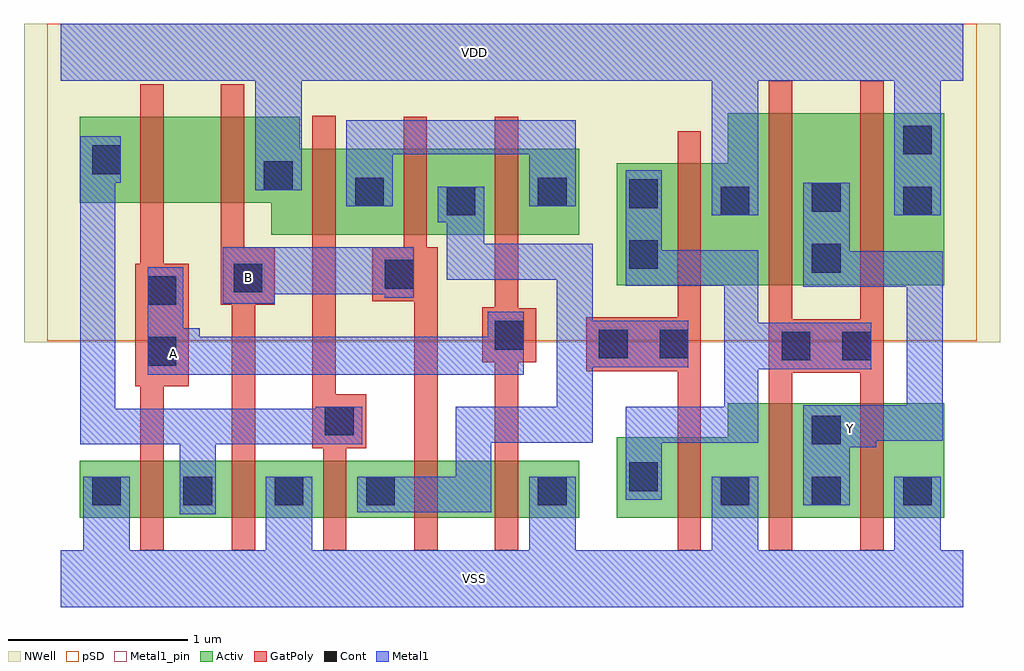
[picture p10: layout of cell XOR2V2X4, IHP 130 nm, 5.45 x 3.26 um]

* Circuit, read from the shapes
.subckt XOR2V2X4 A B VDD VSS Y
XM1 n1 A VSS VSUBS sg13_lv_nmos w=0.32u l=0.13u
XM2 VSS B n1 VSUBS sg13_lv_nmos w=0.32u l=0.13u
XM3 n2 n1 VSS VSUBS sg13_lv_nmos w=0.32u l=0.13u
XM4 n3 B n2 VSUBS sg13_lv_nmos w=0.32u l=0.13u
XM5 VSS A n3 VSUBS sg13_lv_nmos w=0.32u l=0.13u
XM6 VSS n2 n4 VSUBS sg13_lv_nmos w=0.45u l=0.13u
XM7 Y n4 VSS VSUBS sg13_lv_nmos w=0.64u l=0.13u m=2
XM8 n5 A n1 n6 sg13_lv_pmos w=0.48u l=0.13u
XM9 VDD B n5 n6 sg13_lv_pmos w=0.48u l=0.13u
XM10 n7 n1 VDD n6 sg13_lv_pmos w=0.48u l=0.13u
XM11 n2 B n7 n6 sg13_lv_pmos w=0.48u l=0.13u
XM12 n7 A n2 n6 sg13_lv_pmos w=0.48u l=0.13u
XM13 VDD n2 n4 n6 sg13_lv_pmos w=0.68u l=0.13u
XM14 Y n4 VDD n6 sg13_lv_pmos w=0.96u l=0.13u m=2
.ends

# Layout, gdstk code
import gdstk
lib = gdstk.Library(unit=1e-6, precision=1e-09)
def R(c, l, rs):  # rectangles x0, y0, x1, y1
    for r in rs: c.add(gdstk.rectangle(r[:2], r[2:], *l))
def A(c, l, x, y, w, h, nx, ny, dx, dy):  # array of equal rectangles
    R(c, l, [(x+i*dx, y+j*dy, x+i*dx+w, y+j*dy+h) for i in range(nx) for j in range(ny)])
def P(c, l, *ps):  # polygons
    for p in ps: c.add(gdstk.Polygon(p, *l))
Activ = (1, 0)
GatPoly = (5, 0)
Cont = (6, 0)
Metal1 = (8, 0)
Metal1_pin = (8, 2)
pSD = (14, 0)
NWell = (31, 0)

xor2v2x4 = lib.new_cell('XOR2V2X4')
R(xor2v2x4, Activ, [(0.105,0.34,2.895,0.66)])
P(xor2v2x4, Activ, [(3.105,0.34),(3.105,0.79),(3.725,0.79),(3.725,0.98),(4.935,0.98),(4.935,0.34)],
  [(3.105,1.64),(3.105,2.32),(3.725,2.32),(3.725,2.6),(4.935,2.6),(4.935,1.64)],
  [(1.175,1.92),(1.175,2.1),(0.105,2.1),(0.105,2.58),(1.335,2.58),(1.335,2.4),(2.895,2.4),(2.895,1.92)])
P(xor2v2x4, GatPoly, [(3.955,0.16),(3.955,2.78),(4.085,2.78),(4.085,1.45),(4.465,1.45),(4.465,2.78),(4.595,2.78),(4.595,0.16),(4.465,0.16),(4.465,1.15),(4.085,1.15),(4.085,0.16)],
  [(3.445,0.16),(3.445,1.16),(2.935,1.16),(2.935,1.46),(3.445,1.46),(3.445,2.5),(3.575,2.5),(3.575,0.16)],
  [(2.425,0.16),(2.425,1.21),(2.355,1.21),(2.355,1.515),(2.425,1.515),(2.425,2.58),(2.555,2.58),(2.555,1.51),(2.655,1.51),(2.655,1.21),(2.555,1.21),(2.555,0.16)],
  [(1.975,0.16),(1.975,1.55),(1.74,1.55),(1.74,1.85),(1.915,1.85),(1.915,2.58),(2.045,2.58),(2.045,1.85),(2.105,1.85),(2.105,0.16)],
  [(1.465,0.16),(1.465,0.73),(1.405,0.73),(1.405,2.585),(1.535,2.585),(1.535,1.03),(1.705,1.03),(1.705,0.73),(1.595,0.73),(1.595,0.16)],
  [(0.955,0.16),(0.955,1.53),(0.895,1.53),(0.895,2.76),(1.025,2.76),(1.025,1.85),(1.195,1.85),(1.195,1.53),(1.085,1.53),(1.085,0.16)],
  [(0.445,0.16),(0.445,1.075),(0.415,1.075),(0.415,1.76),(0.445,1.76),(0.445,2.76),(0.575,2.76),(0.575,1.76),(0.715,1.76),(0.715,1.075),(0.575,1.075),(0.575,0.16)])
A(xor2v2x4, Cont, 0.175, 0.41, 0.16, 0.16, 4, 1, 0.51, 0)
A(xor2v2x4, Cont, 3.685, 0.41, 0.16, 0.16, 3, 1, 0.51, 0)
R(xor2v2x4, Cont, [(2.665,0.41,2.825,0.57), (3.175,0.49,3.335,0.65), (4.195,0.75,4.355,0.91), (1.475,0.8,1.635,0.96), (0.485,1.19,0.645,1.35), (4.025,1.22,4.185,1.38), (4.365,1.22,4.525,1.38), (3.005,1.23,3.165,1.39), (3.345,1.23,3.505,1.39), (2.425,1.28,2.585,1.44), (0.485,1.53,0.645,1.69), (0.965,1.6,1.125,1.76), (1.81,1.62,1.97,1.78), (4.195,1.71,4.355,1.87), (3.175,1.73,3.335,1.89), (2.155,2.03,2.315,2.19), (3.685,2.03,3.845,2.19), (4.705,2.03,4.865,2.19), (4.195,2.05,4.355,2.21), (3.175,2.07,3.335,2.23), (1.645,2.08,1.805,2.24), (2.665,2.08,2.825,2.24), (1.135,2.17,1.295,2.33), (0.175,2.26,0.335,2.42), (4.705,2.37,4.865,2.53)])
P(xor2v2x4, Metal1, [(0,-0.16),(0,0.16),(0.125,0.16),(0.125,0.57),(0.385,0.57),(0.385,0.16),(1.145,0.16),(1.145,0.57),(1.405,0.57),(1.405,0.16),(2.615,0.16),(2.615,0.57),(2.875,0.57),(2.875,0.16),(3.635,0.16),(3.635,0.57),(3.895,0.57),(3.895,0.16),(4.655,0.16),(4.655,0.57),(4.915,0.57),(4.915,0.16),(5.04,0.16),(5.04,-0.16)],
  [(3.635,2.03),(3.635,2.78),(1.345,2.78),(1.345,2.17),(1.085,2.17),(1.085,2.78),(0,2.78),(0,3.1),(5.04,3.1),(5.04,2.78),(4.915,2.78),(4.915,2.03),(4.655,2.03),(4.655,2.78),(3.895,2.78),(3.895,2.03)],
  [(4.145,0.41),(4.145,0.97),(4.725,0.97),(4.725,1.63),(4.145,1.63),(4.145,2.21),(4.405,2.21),(4.405,1.83),(4.925,1.83),(4.925,0.77),(4.555,0.77),(4.555,0.735),(4.405,0.735),(4.405,0.41)],
  [(3.155,0.44),(3.155,0.96),(3.705,0.96),(3.705,1.635),(3.155,1.635),(3.155,2.28),(3.355,2.28),(3.355,1.835),(3.895,1.835),(3.895,1.43),(4.525,1.43),(4.525,1.17),(3.895,1.17),(3.895,0.76),(3.355,0.76),(3.355,0.44)],
  [(1.595,2.08),(1.595,2.56),(2.875,2.56),(2.875,2.08),(2.615,2.08),(2.615,2.37),(1.855,2.37),(1.855,2.08)],
  [(0.485,1.14),(0.485,1.74),(0.685,1.74),(0.685,1.4),(0.775,1.4),(0.775,1.35),(2.385,1.35),(2.385,1.49),(2.585,1.49),(2.585,1.14)],
  [(0.905,1.535),(0.905,1.85),(1.97,1.85),(1.97,1.57),(1.81,1.57),(1.81,1.59),(1.195,1.59),(1.195,1.535)],
  [(1.655,0.37),(1.655,0.57),(2.205,0.57),(2.205,0.96),(2.77,0.96),(2.77,1.67),(2.155,1.67),(2.155,1.99),(2.105,1.99),(2.105,2.19),(2.365,2.19),(2.365,1.87),(2.97,1.87),(2.97,1.44),(3.505,1.44),(3.505,1.18),(2.97,1.18),(2.97,0.76),(2.405,0.76),(2.405,0.37)],
  [(0.665,0.36),(0.665,0.75),(0.11,0.75),(0.11,2.47),(0.335,2.47),(0.335,2.21),(0.305,2.21),(0.305,0.95),(1.425,0.95),(1.425,0.96),(1.685,0.96),(1.685,0.75),(0.865,0.75),(0.865,0.36)])
P(xor2v2x4, Metal1_pin, [(3.635,2.03),(3.635,2.78),(1.345,2.78),(1.345,2.17),(1.085,2.17),(1.085,2.78),(0,2.78),(0,3.1),(5.04,3.1),(5.04,2.78),(4.915,2.78),(4.915,2.03),(4.655,2.03),(4.655,2.78),(3.895,2.78),(3.895,2.03)],
  [(4.145,0.41),(4.145,0.97),(4.725,0.97),(4.725,1.63),(4.145,1.63),(4.145,2.21),(4.405,2.21),(4.405,1.83),(4.925,1.83),(4.925,0.77),(4.555,0.77),(4.555,0.735),(4.405,0.735),(4.405,0.41)],
  [(0,-0.16),(0,0.16),(0.125,0.16),(0.125,0.57),(0.385,0.57),(0.385,0.16),(1.145,0.16),(1.145,0.57),(1.405,0.57),(1.405,0.16),(2.615,0.16),(2.615,0.57),(2.875,0.57),(2.875,0.16),(3.635,0.16),(3.635,0.57),(3.895,0.57),(3.895,0.16),(4.655,0.16),(4.655,0.57),(4.915,0.57),(4.915,0.16),(5.04,0.16),(5.04,-0.16)],
  [(0.485,1.14),(0.485,1.74),(0.685,1.74),(0.685,1.4),(0.775,1.4),(0.775,1.35),(2.385,1.35),(2.385,1.49),(2.585,1.49),(2.585,1.14)],
  [(0.905,1.535),(0.905,1.85),(1.97,1.85),(1.97,1.57),(1.81,1.57),(1.81,1.59),(1.195,1.59),(1.195,1.535)])
R(xor2v2x4, pSD, [(-0.075,1.33,5.115,3.1)])
R(xor2v2x4, NWell, [(-0.205,1.32,5.245,3.1)])
xor2v2x4.add(gdstk.Label('VSS', (2.31,0), layer=8, texttype=25))
xor2v2x4.add(gdstk.Label('VDD', (2.31,2.94), layer=8, texttype=25))
xor2v2x4.add(gdstk.Label('Y', (4.41,0.84), layer=8, texttype=25))
xor2v2x4.add(gdstk.Label('B', (1.05,1.68), layer=8, texttype=25))
xor2v2x4.add(gdstk.Label('A', (0.63,1.26), layer=8, texttype=25))

lib.write_gds('XOR2V2X4.gds')
